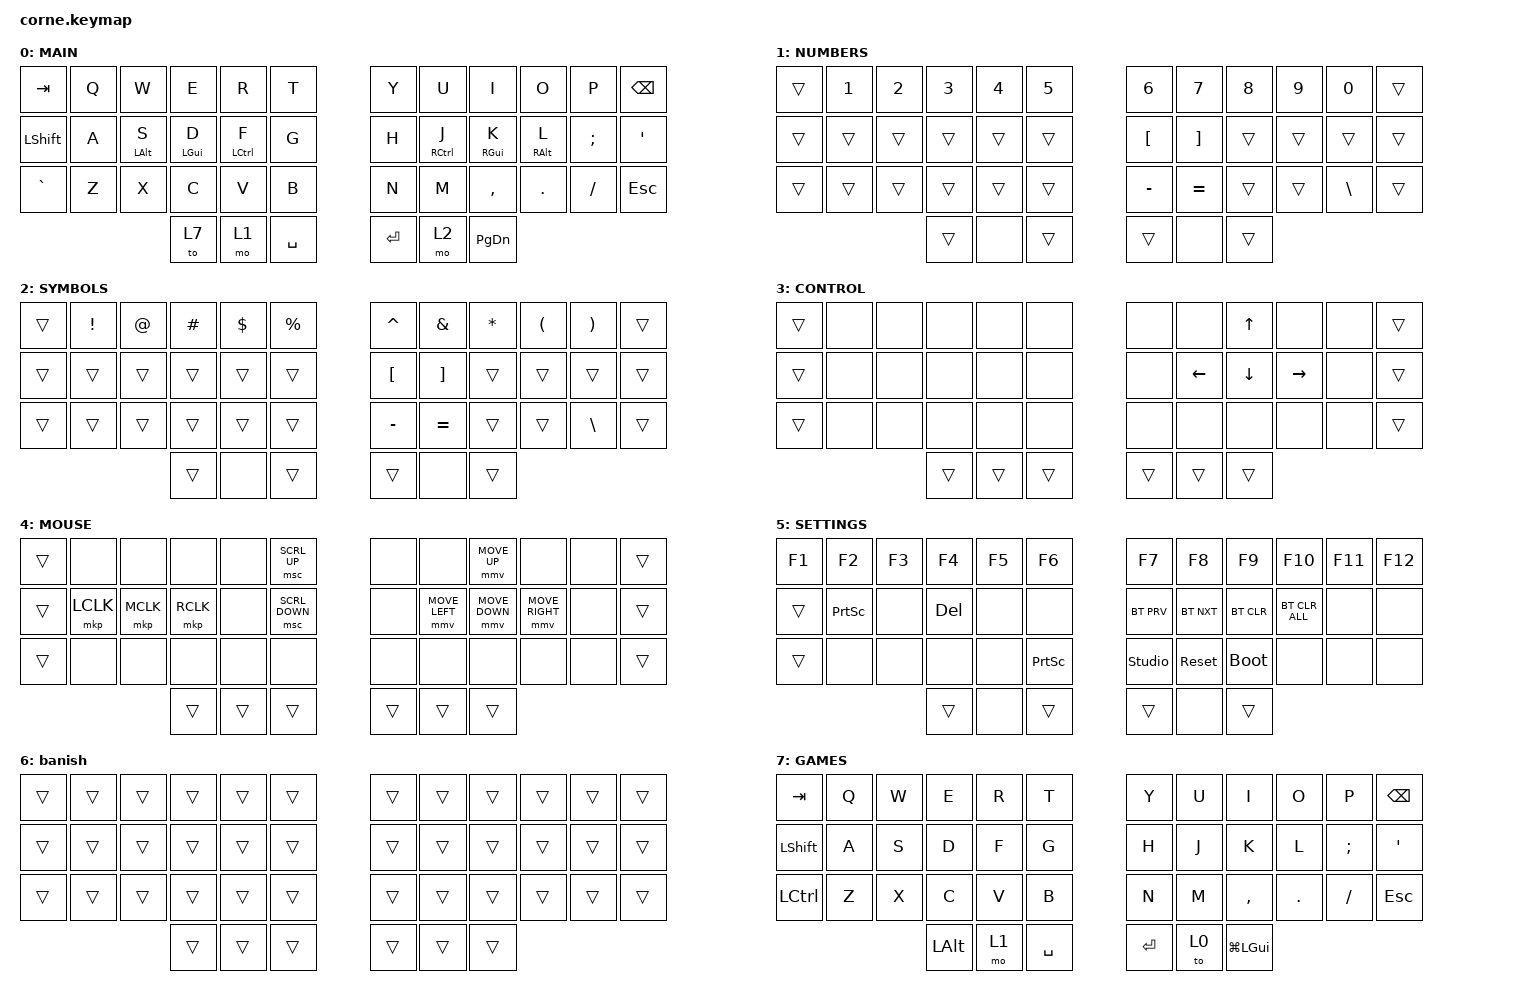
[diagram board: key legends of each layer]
/*
 * Copyright (c) 2020 The ZMK Contributors
 *
 * SPDX-License-Identifier: MIT
 */

#include <behaviors.dtsi>
#include <dt-bindings/zmk/bt.h>
#include <dt-bindings/zmk/keys.h>
#include <dt-bindings/zmk/pointing.h>

&gresc {
};

&mt {
    retro-tap;
    flavor = "tap-preferred";
    hold-while-undecided;
};

/ {
    behaviors {
        mouse_beh: mouse_beh {
            compatible = "zmk,behavior-mouse-key-press";
            label = "MOUSE_BEH";
            #binding-cells = <1>;
        };

        hold_tap_alt: hold_tap_alt {
            compatible = "zmk,behavior-hold-tap";
            label = "HOLD_TAP_ALT";
            bindings = <&kp>, <&kp>;

            #binding-cells = <2>;
            retro-tap;
            tapping-term-ms = <200>;
            flavor = "tap-preferred";
            hold-trigger-on-release;
        };
    };

    combos {
        compatible = "zmk,combos";

        func_layer {
            bindings = <&sl 5>;
            key-positions = <37 16>;
        };

        mouse_layer {
            bindings = <&mo 4>;
            key-positions = <37 40 24>;
        };

        deletecustom {
            bindings = <&kp DELETE>;
            key-positions = <11 10>;
        };

        left_alt {
            bindings = <&kp LALT>;
            key-positions = <13 14>;
            layers = <6>;
        };

        left_super {
            bindings = <&kp LGUI>;
            key-positions = <14 15>;
            layers = <6>;
        };

        left_control {
            bindings = <&kp LCTRL>;
            key-positions = <16 15>;
            layers = <6>;
        };

        right_alt {
            bindings = <&kp RALT>;
            key-positions = <22 21>;
            layers = <6>;
        };

        right_super {
            bindings = <&kp LGUI>;
            key-positions = <21 20>;
            layers = <6>;
        };

        right_control {
            bindings = <&kp RCTRL>;
            key-positions = <20 19>;
            layers = <6>;
        };

        capslock_combo {
            bindings = <&kp CAPSLOCK>;
            key-positions = <12 0>;
        };

        arrow_layer {
            bindings = <&mo 3>;
            key-positions = <37 40>;
        };
    };

    keymap {
        compatible = "zmk,keymap";

        MAIN {
            // -----------------------------------------------------------------------------------------
            // |  TAB |  Q  |  W  |  E  |  R  |  T  |   |  Y  |  U   |  I  |  O  |  P  | BSPC |
            // | CTRL |  A  |  S  |  D  |  F  |  G  |   |  H  |  J   |  K  |  L  |  ;  |  '   |
            // | SHFT |  Z  |  X  |  C  |  V  |  B  |   |  N  |  M   |  ,  |  .  |  /  | ESC  |
            //                    | GUI | LWR | SPC |   | ENT | RSE  | ALT |

            bindings = <
&kp TAB     &kp Q  &kp W                     &kp E           &kp R        &kp T        &kp Y    &kp U        &kp I            &kp O                      &kp P     &kp BSPC
&kp LSHIFT  &kp A  &hold_tap_alt LEFT_ALT S  &mt LEFT_GUI D  &mt LCTRL F  &kp G        &kp H    &mt RCTRL J  &mt RIGHT_GUI K  &hold_tap_alt RIGHT_ALT L  &kp SEMI  &kp SQT
&kp GRAVE   &kp Z  &kp X                     &kp C           &kp V        &kp B        &kp N    &kp M        &kp COMMA        &kp DOT                    &kp FSLH  &kp ESCAPE
                                             &to 7           &mo 1        &kp SPACE    &kp RET  &mo 2        &kp PAGE_DOWN
            >;

            label = "MAIN";
        };

        NUMBERS {
            // -----------------------------------------------------------------------------------------
            // |  TAB |  1  |  2  |  3  |  4  |  5  |   |  6  |  7  |  8  |  9  |  0  | BSPC |
            // | BTCLR| BT1 | BT2 | BT3 | BT4 | BT5 |   | LFT | DWN |  UP | RGT |     |      |
            // | SHFT |     |     |     |     |     |   |     |     |     |     |     |      |
            //                    | GUI |     | SPC |   | ENT |     | ALT |

            bindings = <
&trans  &kp N1  &kp N2  &kp N3  &kp N4  &kp N5    &kp N6     &kp N7     &kp N8  &kp N9  &kp N0         &trans
&trans  &trans  &trans  &trans  &trans  &trans    &kp LBKT   &kp RBKT   &trans  &trans  &trans         &trans
&trans  &trans  &trans  &trans  &trans  &trans    &kp MINUS  &kp EQUAL  &trans  &trans  &kp BACKSLASH  &trans
                        &trans  &none   &trans    &trans     &none      &trans
            >;

            label = "NUMBERS";
        };

        SYMBOLS {
            bindings = <
&trans  &kp EXCLAMATION  &kp AT  &kp HASH  &kp DOLLAR  &kp PERCENT    &kp CARET         &kp AMPS           &kp STAR  &kp LEFT_PARENTHESIS  &kp RIGHT_PARENTHESIS  &trans
&trans  &trans           &trans  &trans    &trans      &trans         &kp LEFT_BRACKET  &kp RIGHT_BRACKET  &trans    &trans                &trans                 &trans
&trans  &trans           &trans  &trans    &trans      &trans         &kp MINUS         &kp EQUAL          &trans    &trans                &kp BACKSLASH          &trans
                                 &trans    &none       &trans         &trans            &none              &trans
            >;

            label = "SYMBOLS";
        };

        CONTROL {
            bindings = <
&trans  &none  &none  &none   &none   &none     &none   &none     &kp UP    &none      &none  &trans
&trans  &none  &none  &none   &none   &none     &none   &kp LEFT  &kp DOWN  &kp RIGHT  &none  &trans
&trans  &none  &none  &none   &none   &none     &none   &none     &none     &none      &none  &trans
                      &trans  &trans  &trans    &trans  &trans    &trans
            >;

            label = "CONTROL";
        };

        MOUSE {
            bindings = <
&trans  &none      &none      &none      &none   &msc SCRL_UP      &none   &none           &mmv MOVE_UP    &none            &none  &trans
&trans  &mkp LCLK  &mkp MCLK  &mkp RCLK  &none   &msc SCRL_DOWN    &none   &mmv MOVE_LEFT  &mmv MOVE_DOWN  &mmv MOVE_RIGHT  &none  &trans
&trans  &none      &none      &none      &none   &none             &none   &none           &none           &none            &none  &trans
                              &trans     &trans  &trans            &trans  &trans          &trans
            >;

            label = "MOUSE";
        };

        SETTINGS {
            bindings = <
&kp F1  &kp F2           &kp F3  &kp F4      &kp F5  &kp F6             &kp F7          &kp F8      &kp F9       &kp F10         &kp F11  &kp F12
&trans  &kp PRINTSCREEN  &none   &kp DELETE  &none   &none              &bt BT_PRV      &bt BT_NXT  &bt BT_CLR   &bt BT_CLR_ALL  &none    &none
&trans  &none            &none   &none       &none   &kp PRINTSCREEN    &studio_unlock  &sys_reset  &bootloader  &none           &none    &none
                                 &trans      &none   &trans             &trans          &none       &trans
            >;

            label = "SETTINGS";
        };

        banish {
            bindings = <
&trans  &trans  &trans  &trans  &trans  &trans    &trans  &trans  &trans  &trans  &trans  &trans
&trans  &trans  &trans  &trans  &trans  &trans    &trans  &trans  &trans  &trans  &trans  &trans
&trans  &trans  &trans  &trans  &trans  &trans    &trans  &trans  &trans  &trans  &trans  &trans
                        &trans  &trans  &trans    &trans  &trans  &trans
            >;
        };

        GAMES {
            bindings = <
&kp TAB    &kp Q  &kp W  &kp E     &kp R  &kp T        &kp Y    &kp U  &kp I         &kp O    &kp P     &kp BSPC
&kp LSHFT  &kp A  &kp S  &kp D     &kp F  &kp G        &kp H    &kp J  &kp K         &kp L    &kp SEMI  &kp SQT
&kp LCTRL  &kp Z  &kp X  &kp C     &kp V  &kp B        &kp N    &kp M  &kp COMMA     &kp DOT  &kp FSLH  &kp ESC
                         &kp LALT  &mo 1  &kp SPACE    &kp RET  &to 0  &kp LG(LGUI)
            >;

            label = "GAMES";
        };
    };
};
